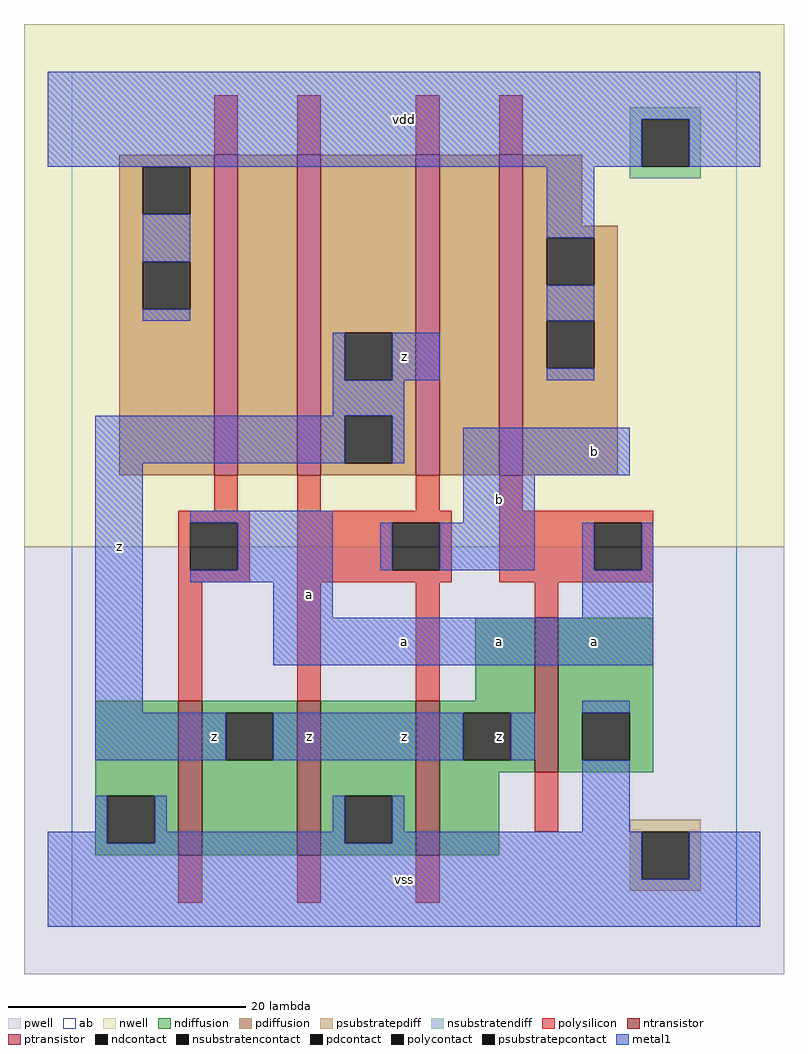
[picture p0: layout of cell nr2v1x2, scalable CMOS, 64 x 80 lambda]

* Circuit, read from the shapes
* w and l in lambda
.subckt nr2v1x2 a b vdd vss z
M1 z a vss vss nfet w=13 l=2 m=2
M2 vss b z vss nfet w=13 l=2 m=2
M3 n1 a vdd vdd pfet w=27 l=2
M4 z b n1 vdd pfet w=27 l=2
M5 n2 b z vdd pfet w=27 l=2
M6 vdd a n2 vdd pfet w=27 l=2
.ends

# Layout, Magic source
magic
tech scmos
<< ab >>
rect 0 0 56 72
<< pwell >>
rect -4 -4 60 32
<< nwell >>
rect -4 32 60 76
<< polysilicon >>
rect 12 65 14 70
rect 19 65 21 70
rect 29 65 31 70
rect 36 65 38 70
rect 12 35 14 38
rect 19 35 21 38
rect 29 35 31 38
rect 36 35 38 38
rect 9 34 15 35
rect 9 30 10 34
rect 14 30 15 34
rect 9 29 15 30
rect 19 34 32 35
rect 19 30 27 34
rect 31 30 32 34
rect 19 29 32 30
rect 36 34 49 35
rect 36 30 44 34
rect 48 30 49 34
rect 36 29 49 30
rect 9 19 11 29
rect 19 19 21 29
rect 29 19 31 29
rect 39 26 41 29
rect 39 8 41 13
rect 9 2 11 6
rect 19 2 21 6
rect 29 2 31 6
<< ndiffusion >>
rect 34 19 39 26
rect 2 11 9 19
rect 2 7 3 11
rect 7 7 9 11
rect 2 6 9 7
rect 11 18 19 19
rect 11 14 13 18
rect 17 14 19 18
rect 11 6 19 14
rect 21 11 29 19
rect 21 7 23 11
rect 27 7 29 11
rect 21 6 29 7
rect 31 18 39 19
rect 31 14 33 18
rect 37 14 39 18
rect 31 13 39 14
rect 41 18 49 26
rect 41 14 43 18
rect 47 14 49 18
rect 41 13 49 14
rect 31 6 36 13
<< pdiffusion >>
rect 4 64 12 65
rect 4 60 6 64
rect 10 60 12 64
rect 4 56 12 60
rect 4 52 6 56
rect 10 52 12 56
rect 4 38 12 52
rect 14 38 19 65
rect 21 50 29 65
rect 21 46 23 50
rect 27 46 29 50
rect 21 43 29 46
rect 21 39 23 43
rect 27 39 29 43
rect 21 38 29 39
rect 31 38 36 65
rect 38 59 43 65
rect 38 58 46 59
rect 38 54 40 58
rect 44 54 46 58
rect 38 51 46 54
rect 38 47 40 51
rect 44 47 46 51
rect 38 38 46 47
<< metal1 >>
rect -2 68 58 72
rect -2 64 48 68
rect 52 64 58 68
rect 6 56 10 60
rect 6 51 10 52
rect 40 58 44 64
rect 40 51 44 54
rect 22 46 23 50
rect 27 46 31 50
rect 40 46 44 47
rect 22 43 28 46
rect 2 39 23 43
rect 27 39 28 43
rect 2 18 6 39
rect 33 38 47 42
rect 10 34 22 35
rect 33 34 39 38
rect 14 30 22 34
rect 26 30 27 34
rect 31 30 39 34
rect 43 30 44 34
rect 48 30 49 34
rect 10 29 22 30
rect 17 26 22 29
rect 43 26 49 30
rect 17 22 49 26
rect 43 18 47 19
rect 2 14 13 18
rect 17 14 33 18
rect 37 14 39 18
rect 2 8 3 11
rect -2 7 3 8
rect 7 8 8 11
rect 22 8 23 11
rect 7 7 23 8
rect 27 8 28 11
rect 43 8 47 14
rect 27 7 48 8
rect -2 4 48 7
rect 52 4 58 8
rect -2 0 58 4
<< ntransistor >>
rect 9 6 11 19
rect 19 6 21 19
rect 29 6 31 19
rect 39 13 41 26
<< ptransistor >>
rect 12 38 14 65
rect 19 38 21 65
rect 29 38 31 65
rect 36 38 38 65
<< polycontact >>
rect 10 30 14 34
rect 27 30 31 34
rect 44 30 48 34
<< ndcontact >>
rect 3 7 7 11
rect 13 14 17 18
rect 23 7 27 11
rect 33 14 37 18
rect 43 14 47 18
<< pdcontact >>
rect 6 60 10 64
rect 6 52 10 56
rect 23 46 27 50
rect 23 39 27 43
rect 40 54 44 58
rect 40 47 44 51
<< psubstratepcontact >>
rect 48 4 52 8
<< nsubstratencontact >>
rect 48 64 52 68
<< psubstratepdiff >>
rect 47 8 53 9
rect 47 4 48 8
rect 52 4 53 8
rect 47 3 53 4
<< nsubstratendiff >>
rect 47 68 53 69
rect 47 64 48 68
rect 52 64 53 68
rect 47 63 53 64
<< labels >>
rlabel metal1 4 32 4 32 6 z
rlabel metal1 20 16 20 16 6 z
rlabel metal1 12 16 12 16 6 z
rlabel metal1 20 28 20 28 6 a
rlabel metal1 28 4 28 4 6 vss
rlabel ndcontact 36 16 36 16 6 z
rlabel metal1 28 16 28 16 6 z
rlabel metal1 28 24 28 24 6 a
rlabel metal1 36 24 36 24 6 a
rlabel metal1 36 36 36 36 6 b
rlabel metal1 28 48 28 48 6 z
rlabel metal1 28 68 28 68 6 vdd
rlabel metal1 44 24 44 24 6 a
rlabel metal1 44 40 44 40 6 b
<< end >>
